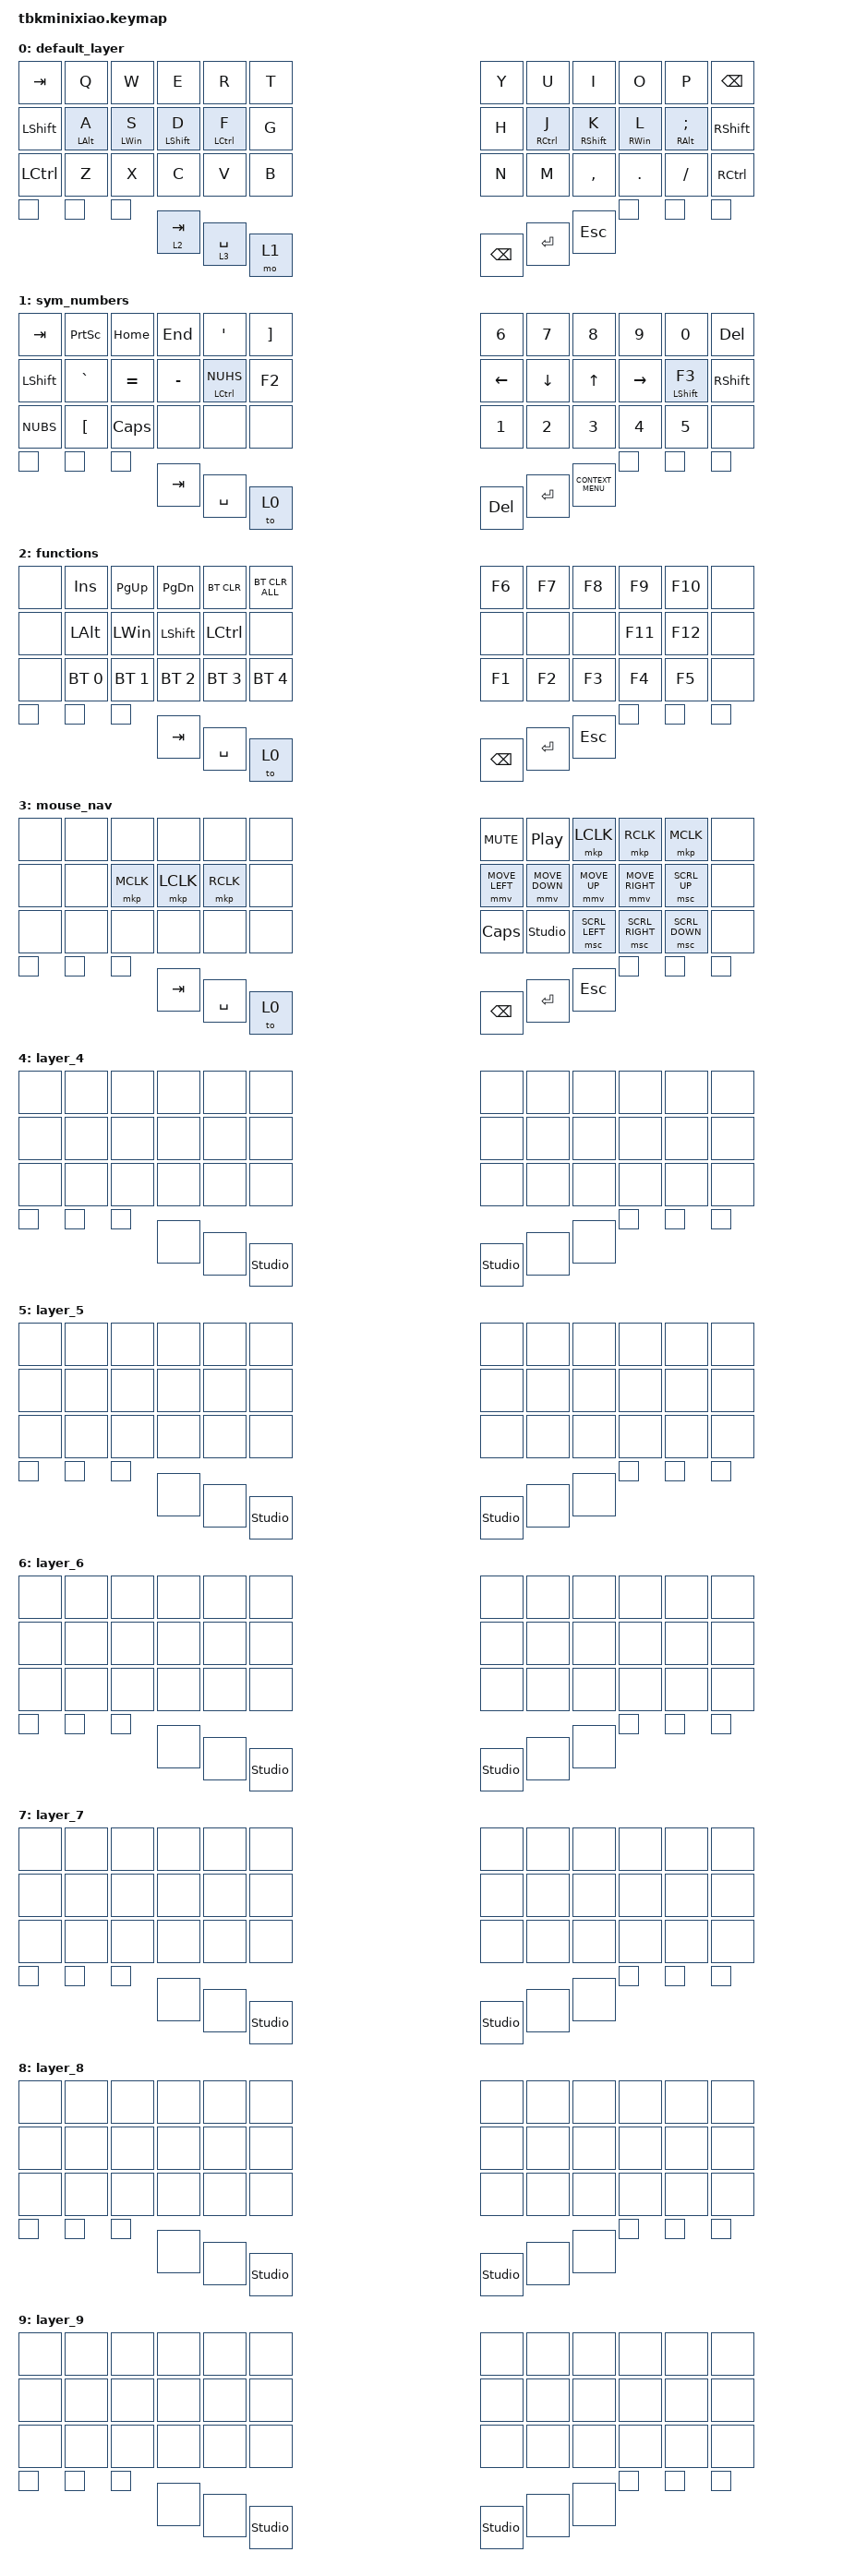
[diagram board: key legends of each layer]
/*
 * Copyright (c) 2020 The ZMK Contributors
 * 
 * SPDX-License-Identifier: MIT
 */

#define ZMK_POINTING_DEFAULT_MOVE_VAL 8000  // default: 600
#define ZMK_POINTING_DEFAULT_SCRL_VAL 20    // default: 20

#include <behaviors.dtsi>
#include <dt-bindings/zmk/bt.h>
#include <dt-bindings/zmk/keys.h>
#include <dt-bindings/zmk/pointing.h>

/ {
    behaviors {
        hm: homerow_mods {
            compatible = "zmk,behavior-hold-tap";
            #binding-cells = <2>;
            tapping-term-ms = <150>;
            flavor = "tap-preferred";
            require-prior-idle-ms = <125>;
            bindings = <&kp>, <&kp>;
        };
    };

    keymap {
        compatible = "zmk,keymap";

        default_layer {
            bindings = <
  &kp TAB           &kp Q           &kp W           &kp E             &kp R        &kp T  &kp Y          &kp U        &kp I              &kp O            &kp P               &kp BSPC
  &kp LSHIFT        &hm LEFT_ALT A  &hm LEFT_WIN S  &hm LEFT_SHIFT D  &hm LCTRL F  &kp G  &kp H          &hm RCTRL J  &hm RIGHT_SHIFT K  &hm RIGHT_WIN L  &hm RIGHT_ALT SEMI  &kp RSHIFT
  &kp LEFT_CONTROL  &kp Z           &kp X           &kp C             &kp V        &kp B  &kp N          &kp M        &kp COMMA          &kp DOT          &kp FSLH            &kp RIGHT_CONTROL
  &none             &none           &none           &lt 2 TAB         &lt 3 SPACE  &mo 1  &kp BACKSPACE  &kp ENTER    &kp ESCAPE         &none            &none               &none
            >;
        };

        sym_numbers {
            bindings = <
  &kp TAB     &kp PRINTSCREEN   &kp HOME      &kp END    &kp APOS        &kp RBKT  &kp N6      &kp N7     &kp N8              &kp N9     &kp N0             &kp DEL
  &kp LSHIFT  &kp GRAVE         &kp EQUAL     &kp MINUS  &hm LCTRL NUHS  &kp F2    &kp LEFT    &kp DOWN   &kp UP              &kp RIGHT  &hm LEFT_SHIFT F3  &kp RSHIFT
  &kp NUBS    &kp LEFT_BRACKET  &kp CAPSLOCK  &none      &none           &none     &kp N1      &kp N2     &kp N3              &kp N4     &kp N5             &none
  &none       &none             &none         &kp TAB    &kp SPACE       &to 0     &kp DELETE  &kp ENTER  &kp K_CONTEXT_MENU  &none      &none              &none
            >;
        };

        functions {
            bindings = <
  &none  &kp INSERT    &kp PG_UP     &kp PG_DN       &bt BT_CLR        &bt BT_CLR_ALL  &kp F6         &kp F7     &kp F8      &kp F9   &kp F10  &none
  &none  &kp LEFT_ALT  &kp LEFT_WIN  &kp LEFT_SHIFT  &kp LEFT_CONTROL  &none           &none          &none      &none       &kp F11  &kp F12  &none
  &none  &bt BT_SEL 0  &bt BT_SEL 1  &bt BT_SEL 2    &bt BT_SEL 3      &bt BT_SEL 4    &kp F1         &kp F2     &kp F3      &kp F4   &kp F5   &none
  &none  &none         &none         &kp TAB         &kp SPACE         &to 0           &kp BACKSPACE  &kp ENTER  &kp ESCAPE  &none    &none    &none
            >;
        };

        mouse_nav {
            bindings = <
  &none  &none  &none      &none      &none      &none  &kp C_MUTE      &kp C_PP        &mkp LCLK       &mkp RCLK        &mkp MCLK       &none
  &none  &none  &mkp MCLK  &mkp LCLK  &mkp RCLK  &none  &mmv MOVE_LEFT  &mmv MOVE_DOWN  &mmv MOVE_UP    &mmv MOVE_RIGHT  &msc SCRL_UP    &none
  &none  &none  &none      &none      &none      &none  &kp CAPSLOCK    &studio_unlock  &msc SCRL_LEFT  &msc SCRL_RIGHT  &msc SCRL_DOWN  &none
  &none  &none  &none      &kp TAB    &kp SPACE  &to 0  &kp BACKSPACE   &kp ENTER       &kp ESCAPE      &none            &none           &none
            >;
        };

        layer_4 {
            bindings = <
  &none  &none  &none  &none  &none  &none           &none           &none  &none  &none  &none  &none
  &none  &none  &none  &none  &none  &none           &none           &none  &none  &none  &none  &none
  &none  &none  &none  &none  &none  &none           &none           &none  &none  &none  &none  &none
  &none  &none  &none  &none  &none  &studio_unlock  &studio_unlock  &none  &none  &none  &none  &none
            >;
        };

        layer_5 {
            bindings = <
  &none  &none  &none  &none  &none  &none           &none           &none  &none  &none  &none  &none
  &none  &none  &none  &none  &none  &none           &none           &none  &none  &none  &none  &none
  &none  &none  &none  &none  &none  &none           &none           &none  &none  &none  &none  &none
  &none  &none  &none  &none  &none  &studio_unlock  &studio_unlock  &none  &none  &none  &none  &none
            >;
        };

        layer_6 {
            bindings = <
  &none  &none  &none  &none  &none  &none           &none           &none  &none  &none  &none  &none
  &none  &none  &none  &none  &none  &none           &none           &none  &none  &none  &none  &none
  &none  &none  &none  &none  &none  &none           &none           &none  &none  &none  &none  &none
  &none  &none  &none  &none  &none  &studio_unlock  &studio_unlock  &none  &none  &none  &none  &none
            >;
        };

        layer_7 {
            bindings = <
  &none  &none  &none  &none  &none  &none           &none           &none  &none  &none  &none  &none
  &none  &none  &none  &none  &none  &none           &none           &none  &none  &none  &none  &none
  &none  &none  &none  &none  &none  &none           &none           &none  &none  &none  &none  &none
  &none  &none  &none  &none  &none  &studio_unlock  &studio_unlock  &none  &none  &none  &none  &none
            >;
        };

        layer_8 {
            bindings = <
  &none  &none  &none  &none  &none  &none           &none           &none  &none  &none  &none  &none
  &none  &none  &none  &none  &none  &none           &none           &none  &none  &none  &none  &none
  &none  &none  &none  &none  &none  &none           &none           &none  &none  &none  &none  &none
  &none  &none  &none  &none  &none  &studio_unlock  &studio_unlock  &none  &none  &none  &none  &none
            >;
        };

        layer_9 {
            bindings = <
  &none  &none  &none  &none  &none  &none           &none           &none  &none  &none  &none  &none
  &none  &none  &none  &none  &none  &none           &none           &none  &none  &none  &none  &none
  &none  &none  &none  &none  &none  &none           &none           &none  &none  &none  &none  &none
  &none  &none  &none  &none  &none  &studio_unlock  &studio_unlock  &none  &none  &none  &none  &none
            >;
        };
    };
};
